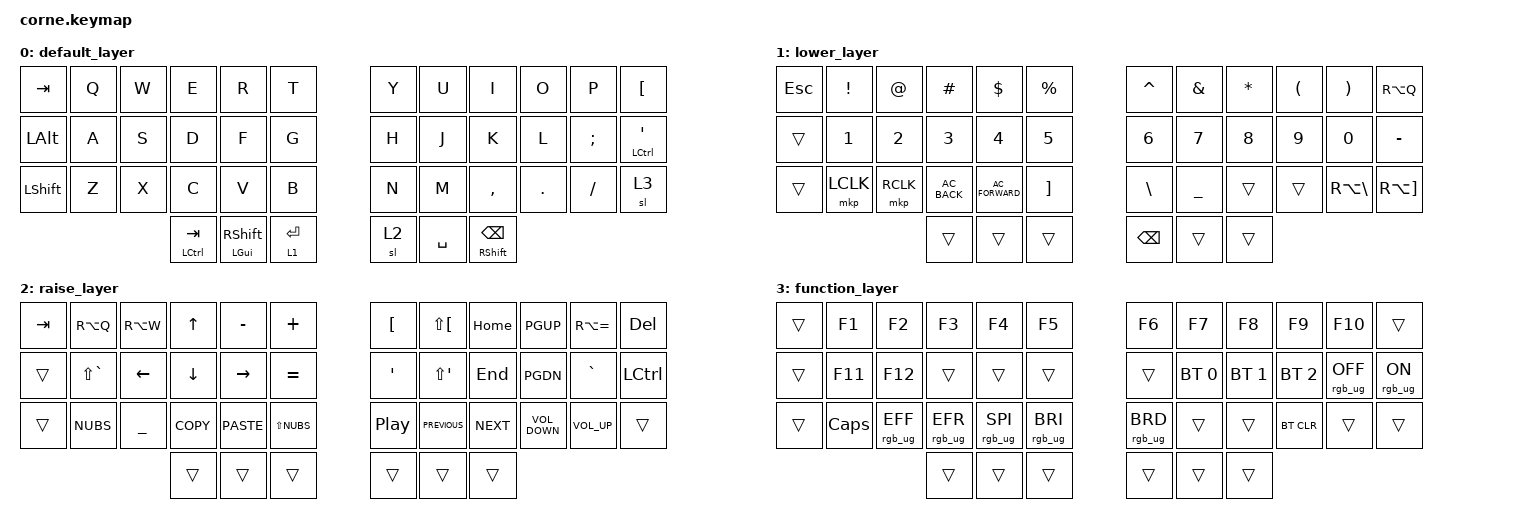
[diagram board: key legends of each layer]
/*
 * Estou fazendo para teclado verde da China. O repositório é um genérico, é para servir pra todos.
 * Deu um aviso sobre refenciamentos, ou algo assim, desabilitados quando fiz o fork
 * 
 * 
 */


#include <behaviors.dtsi>
#include <dt-bindings/zmk/bt.h>
#include <dt-bindings/zmk/keys.h>
#include <dt-bindings/zmk/mouse.h>
#include <dt-bindings/zmk/rgb.h>


/ {
  behaviors {
    skq: sticky_key_quick_release {
      compatible = "zmk,behavior-sticky-key";
      label = "STICKY_KEY_QUICK_RELEASE";
      #binding-cells = <1>;
      bindings = <&kp>;
      release-after-ms = <1000>;
      quick-release;
    };
  };
};

/ {
    behaviors {
        rars:pressticky {
            compatible = "zmk,behavior-hold-tap";
            #binding-cells = <2>;
            flavor = "balanced";
            tapping-term-ms = <190>;
            bindings = <&kp>, <&skq>;
        };
    };
};

/ {
    behaviors {
        mt_ctrl: mt_ctrl {
            compatible = "zmk,behavior-hold-tap";
            #binding-cells = <2>;
            // menos agressivo que o padrão:
            flavor = "tap-preferred";
            tapping-term-ms = <180>;
            quick-tap-ms = <150>;
            require-prior-idle-ms = <120>;
            bindings = <&kp>, <&kp>;
        };
    };
};

/ {
    combos { compatible = "zmk,combos"; };

    keymap {
        compatible = "zmk,keymap";

        default_layer {
            bindings = <
                &kp TAB      &kp Q   &kp W   &kp E   &kp R   &kp T          &kp Y   &kp U   &kp I      &kp O   &kp P      &kp LBKT
                &kp LALT     &kp A   &kp S   &kp D   &kp F   &kp G          &kp H   &kp J   &kp K      &kp L   &kp SEMI   &mt_ctrl LCTRL SINGLE_QUOTE
                &kp LSHIFT   &kp Z   &kp X   &kp C   &kp V   &kp B          &kp N   &kp M   &kp COMMA  &kp DOT &kp SLASH  &sl 3
            &mt LCTRL TAB      &rars LEFT_GUI RSHIFT    &lt 1 ENTER         &sl 2     &kp SPACE      &mt RSHIFT BACKSPACE
            >;
        };

        lower_layer {
            bindings = <
&kp ESC &kp EXCL         &kp AT_SIGN   &kp POUND     &kp DOLLAR        &kp PERCENT               &kp CARET        &kp AMPERSAND      &kp ASTERISK  &kp LEFT_PARENTHESIS   &kp RIGHT_PARENTHESIS  &kp RA(Q)
&trans  &kp NUMBER_1     &kp NUMBER_2  &kp NUMBER_3  &kp NUMBER_4      &kp NUMBER_5              &kp NUMBER_6     &kp NUMBER_7       &kp NUMBER_8  &kp NUMBER_9           &kp NUMBER_0           &kp MINUS
&trans  &mkp LCLK        &mkp RCLK     &kp C_AC_BACK &kp C_AC_FORWARD  &kp RIGHT_BRACKET         &kp BSLH         &kp UNDERSCORE     &trans        &trans                 &kp RA(BSLH)           &kp RA(RIGHT_BRACKET)
                                       &trans        &trans            &trans                    &kp BACKSPACE    &trans             &trans
            >;
        };

       
        raise_layer {
            bindings = <
                &kp TAB    &kp RA(Q)       &kp RA(W)       &kp UP      &kp MINUS    &kp PLUS             &kp LBKT          &kp LS(LBKT)          &kp HOME    &kp PGUP             &kp RA(EQUAL)        &kp DELETE
                &trans     &kp LS(GRAVE)   &kp LEFT        &kp DOWN    &kp RIGHT    &kp EQUAL            &kp SINGLE_QUOTE      &kp LS(SINGLE_QUOTE)  &kp END     &kp PGDN             &kp GRAVE        &kp LCTRL      
                &trans     &kp NUBS        &kp UNDERSCORE  &kp K_COPY  &kp K_PASTE  &kp LS(NUBS)         &kp C_PLAY_PAUSE      &kp C_PREVIOUS        &kp C_NEXT  &kp C_VOLUME_DOWN    &kp C_VOLUME_UP  &trans
                                                           &trans      &trans       &trans               &trans                &trans                &trans
            >;
        };

        function_layer {
            bindings = <
                &trans   &kp F1     &kp F2            &kp F3            &kp F4            &kp F5            &kp F6            &kp F7         &kp F8         &kp F9         &kp F10           &trans
                &trans   &kp F11    &kp F12           &trans            &trans            &trans            &trans            &bt BT_SEL 0   &bt BT_SEL 1   &bt BT_SEL 2   &rgb_ug RGB_OFF   &rgb_ug RGB_ON
                &trans   &kp CAPS   &rgb_ug RGB_EFF   &rgb_ug RGB_EFR   &rgb_ug RGB_SPI   &rgb_ug RGB_BRI   &rgb_ug RGB_BRD   &trans         &trans         &bt BT_CLR     &trans            &trans
                                                                    &trans     &trans     &trans            &trans     &trans     &trans
            >;
        };
    };
};
